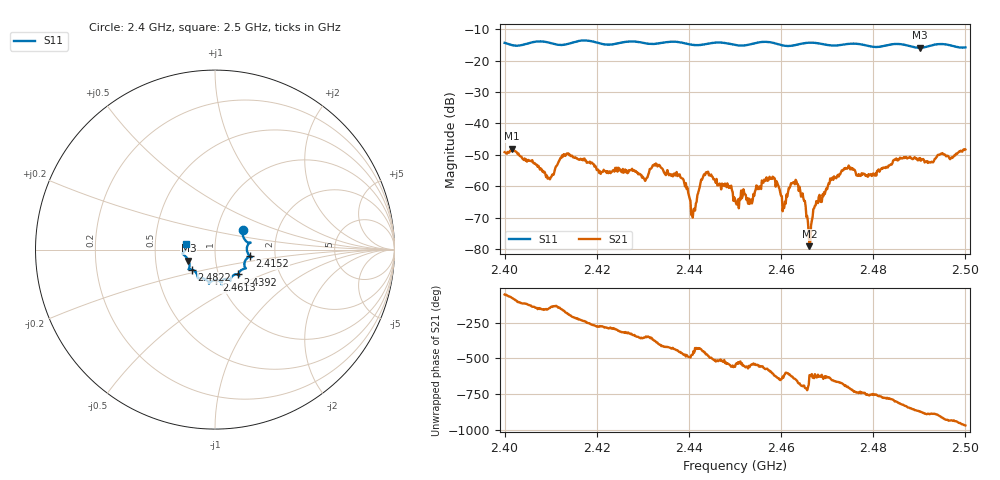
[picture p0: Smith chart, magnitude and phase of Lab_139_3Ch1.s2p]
# Hz S RI R 50
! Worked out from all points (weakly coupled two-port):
!   601 points, 2.4 GHz to 2.5 GHz, reference 50 ohm
!   highest |S21| = -48.05 dB at 2.4017 GHz (marker M1); lowest = -79.1 dB at 2.4662 GHz (marker M2)
!   lowest |S11| = -15.9 dB at 2.4902 GHz (marker M3), VSWR 1.38, Z = 36.9 - j4.64 ohm
!   |S11| at or under -10 dB: start of sweep to end of sweep
!   S12 and S22 are empty: the file has one direction only
!   S11 on the Smith chart (normalised r, x): 2.4 GHz: 1.33, +0.31; 2.4152 GHz: 1.48, -0.11; 2.4392 GHz: 1.24, -0.35; 2.4613 GHz: 0.96, -0.34; 2.4822 GHz: 0.76, -0.17; 2.5 GHz: 0.72, +0.05
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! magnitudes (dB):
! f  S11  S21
! 2.4 GHz  -14.4  -49.2
! 2.4017 GHz  -15.1  -48.1
! 2.4095 GHz  -14.2  -57.3
! 2.4152 GHz  -14.1  -50.9
! 2.4167 GHz  -13.6  -51.5
! 2.4303 GHz  -14.4  -57.8
! 2.4333 GHz  -14.5  -53.4
! 2.4392 GHz  -14.5  -60.1
! 2.441 GHz  -15.0  -67.3
! 2.4437 GHz  -14.7  -55.6
! 2.45 GHz  -15.0  -64.1
! 2.458 GHz  -14.3  -57.6
! 2.4613 GHz  -15.3  -63.3
! 2.4637 GHz  -14.9  -59.4
! 2.4662 GHz  -14.3  -79.1
! 2.4667 GHz  -14.3  -71.0
! 2.4678 GHz  -14.5  -65.1
! 2.4735 GHz  -14.9  -54.8
! 2.4822 GHz  -15.4  -54.0
! 2.4833 GHz  -15.0  -53.4
! 2.4902 GHz  -15.9  -51.0
! 2.5 GHz  -15.8  -48.3
